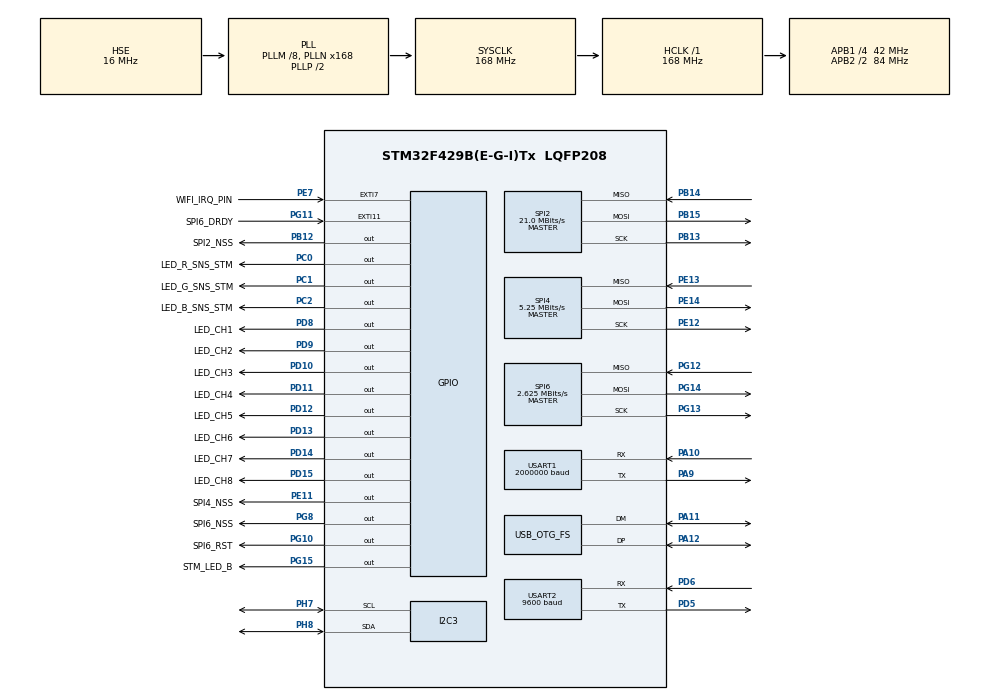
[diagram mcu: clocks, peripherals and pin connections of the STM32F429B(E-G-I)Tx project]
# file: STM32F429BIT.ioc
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Dma.I2C3_RX.1.Direction=DMA_PERIPH_TO_MEMORY
Dma.I2C3_RX.1.FIFOMode=DMA_FIFOMODE_DISABLE
Dma.I2C3_RX.1.Instance=DMA1_Stream2
Dma.I2C3_RX.1.MemDataAlignment=DMA_MDATAALIGN_BYTE
Dma.I2C3_RX.1.MemInc=DMA_MINC_ENABLE
Dma.I2C3_RX.1.Mode=DMA_NORMAL
Dma.I2C3_RX.1.PeriphDataAlignment=DMA_PDATAALIGN_BYTE
Dma.I2C3_RX.1.PeriphInc=DMA_PINC_DISABLE
Dma.I2C3_RX.1.Priority=DMA_PRIORITY_HIGH
Dma.I2C3_TX.2.Direction=DMA_MEMORY_TO_PERIPH
Dma.I2C3_TX.2.FIFOMode=DMA_FIFOMODE_DISABLE
Dma.I2C3_TX.2.Instance=DMA1_Stream4
Dma.I2C3_TX.2.MemDataAlignment=DMA_MDATAALIGN_BYTE
Dma.I2C3_TX.2.MemInc=DMA_MINC_ENABLE
Dma.I2C3_TX.2.Mode=DMA_NORMAL
Dma.I2C3_TX.2.PeriphDataAlignment=DMA_PDATAALIGN_BYTE
Dma.I2C3_TX.2.PeriphInc=DMA_PINC_DISABLE
Dma.I2C3_TX.2.Priority=DMA_PRIORITY_LOW
Dma.MEMTOMEM.0.Direction=DMA_MEMORY_TO_MEMORY
Dma.MEMTOMEM.0.FIFOMode=DMA_FIFOMODE_ENABLE
Dma.MEMTOMEM.0.FIFOThreshold=DMA_FIFO_THRESHOLD_FULL
Dma.MEMTOMEM.0.Instance=DMA2_Stream0
Dma.MEMTOMEM.0.MemBurst=DMA_MBURST_SINGLE
Dma.MEMTOMEM.0.MemDataAlignment=DMA_MDATAALIGN_BYTE
Dma.MEMTOMEM.0.MemInc=DMA_MINC_ENABLE
Dma.MEMTOMEM.0.Mode=DMA_NORMAL
Dma.MEMTOMEM.0.PeriphBurst=DMA_PBURST_SINGLE
Dma.MEMTOMEM.0.PeriphDataAlignment=DMA_PDATAALIGN_BYTE
Dma.MEMTOMEM.0.PeriphInc=DMA_PINC_ENABLE
Dma.MEMTOMEM.0.Priority=DMA_PRIORITY_LOW
Dma.Request0=MEMTOMEM
Dma.Request1=I2C3_RX
Dma.Request2=I2C3_TX
Dma.Request3=USART1_RX
Dma.Request4=USART1_TX
Dma.Request5=SPI4_TX
Dma.Request6=USART2_RX
Dma.SPI4_TX.5.Direction=DMA_MEMORY_TO_PERIPH
Dma.SPI4_TX.5.FIFOMode=DMA_FIFOMODE_DISABLE
Dma.SPI4_TX.5.Instance=DMA2_Stream1
Dma.SPI4_TX.5.MemDataAlignment=DMA_MDATAALIGN_BYTE
Dma.SPI4_TX.5.MemInc=DMA_MINC_ENABLE
Dma.SPI4_TX.5.Mode=DMA_NORMAL
Dma.SPI4_TX.5.PeriphDataAlignment=DMA_PDATAALIGN_BYTE
Dma.SPI4_TX.5.PeriphInc=DMA_PINC_DISABLE
Dma.SPI4_TX.5.Priority=DMA_PRIORITY_LOW
Dma.USART1_RX.3.Direction=DMA_PERIPH_TO_MEMORY
Dma.USART1_RX.3.FIFOMode=DMA_FIFOMODE_DISABLE
Dma.USART1_RX.3.Instance=DMA2_Stream2
Dma.USART1_RX.3.MemDataAlignment=DMA_MDATAALIGN_BYTE
Dma.USART1_RX.3.MemInc=DMA_MINC_ENABLE
Dma.USART1_RX.3.Mode=DMA_CIRCULAR
Dma.USART1_RX.3.PeriphDataAlignment=DMA_PDATAALIGN_BYTE
Dma.USART1_RX.3.PeriphInc=DMA_PINC_DISABLE
Dma.USART1_RX.3.Priority=DMA_PRIORITY_VERY_HIGH
Dma.USART1_TX.4.Direction=DMA_MEMORY_TO_PERIPH
Dma.USART1_TX.4.FIFOMode=DMA_FIFOMODE_DISABLE
Dma.USART1_TX.4.Instance=DMA2_Stream7
Dma.USART1_TX.4.MemDataAlignment=DMA_MDATAALIGN_BYTE
Dma.USART1_TX.4.MemInc=DMA_MINC_ENABLE
Dma.USART1_TX.4.Mode=DMA_NORMAL
Dma.USART1_TX.4.PeriphDataAlignment=DMA_PDATAALIGN_BYTE
Dma.USART1_TX.4.PeriphInc=DMA_PINC_DISABLE
Dma.USART1_TX.4.Priority=DMA_PRIORITY_VERY_HIGH
Dma.USART2_RX.6.Direction=DMA_PERIPH_TO_MEMORY
Dma.USART2_RX.6.FIFOMode=DMA_FIFOMODE_DISABLE
Dma.USART2_RX.6.Instance=DMA1_Stream5
Dma.USART2_RX.6.MemDataAlignment=DMA_MDATAALIGN_BYTE
Dma.USART2_RX.6.MemInc=DMA_MINC_ENABLE
Dma.USART2_RX.6.Mode=DMA_CIRCULAR
Dma.USART2_RX.6.PeriphDataAlignment=DMA_PDATAALIGN_BYTE
Dma.USART2_RX.6.PeriphInc=DMA_PINC_DISABLE
Dma.USART2_RX.6.Priority=DMA_PRIORITY_LOW
FREERTOS.INCLUDE_eTaskGetState=1
FREERTOS.INCLUDE_xQueueGetMutexHolder=1
FREERTOS.INCLUDE_xSemaphoreGetMutexHolder=1
FREERTOS.INCLUDE_xTaskAbortDelay=1
FREERTOS.INCLUDE_xTaskGetCurrentTaskHandle=1
FREERTOS.INCLUDE_xTaskGetHandle=1
FREERTOS.INCLUDE_xTimerPendFunctionCall=1
FREERTOS.Tasks01=defaultTask,0,2048,StartDefaultTask,Default,NULL,Dynamic,NULL,NULL;displayTask,-1,512,StartDisplayTask,Default,NULL,Dynamic,NULL,NULL;udpServerTask,0,1024,StartUdpServer,Default,NULL,Dynamic,NULL,NULL;initWiFiTask,-1,256,StartInitWiFiTask,Default,NULL,Dynamic,NULL,NULL;debugMonitor,-2,128,StartDebugMonitor,Default,NULL,Dynamic,NULL,NULL;USBHandlerTask,0,2048,StartUSBHandlerTask,Default,NULL,Dynamic,NULL,NULL
FREERTOS.configMAX_CO_ROUTINE_PRIORITIES=6
FREERTOS.configQUEUE_REGISTRY_SIZE=0
FREERTOS.configTIMER_TASK_PRIORITY=6
FREERTOS.configTIMER_TASK_STACK_DEPTH=1024
FREERTOS.configTOTAL_HEAP_SIZE=32768
FREERTOS.configUSE_COUNTING_SEMAPHORES=1
FREERTOS.configUSE_CO_ROUTINES=1
FREERTOS.configUSE_RECURSIVE_MUTEXES=1
FREERTOS.configUSE_TIMERS=1
I2C3.I2C_Mode=I2C_Fast
Mcu.Family=STM32F4
Mcu.Name=STM32F429B(E-G-I)Tx
Mcu.Package=LQFP208
NVIC.DMA1_Stream2_IRQn=true\:5\:0\:false\:false\:true\:true\:false\:true
NVIC.DMA1_Stream4_IRQn=true\:5\:0\:false\:false\:true\:true\:false\:true
NVIC.DMA1_Stream5_IRQn=true\:5\:0\:false\:false\:true\:true\:false\:true
NVIC.DMA2_Stream1_IRQn=true\:5\:0\:false\:false\:true\:true\:false\:true
NVIC.DMA2_Stream2_IRQn=true\:0\:0\:false\:false\:true\:false\:true\:true
NVIC.DMA2_Stream7_IRQn=true\:0\:0\:false\:false\:true\:false\:true\:true
NVIC.EXTI15_10_IRQn=true\:1\:0\:true\:false\:true\:false\:true\:true
NVIC.EXTI9_5_IRQn=true\:5\:0\:false\:false\:true\:true\:true\:true
NVIC.I2C3_EV_IRQn=true\:1\:0\:true\:false\:true\:false\:true\:true
NVIC.OTG_FS_IRQn=true\:5\:0\:false\:false\:true\:true\:false\:true
NVIC.PriorityGroup=NVIC_PRIORITYGROUP_4
NVIC.SPI4_IRQn=true\:1\:0\:true\:false\:true\:false\:true\:true
NVIC.TIM1_BRK_TIM9_IRQn=true\:3\:0\:true\:false\:true\:false\:true\:true
NVIC.TIM1_TRG_COM_TIM11_IRQn=true\:3\:0\:true\:false\:true\:false\:true\:true
NVIC.TIM1_UP_TIM10_IRQn=true\:0\:0\:true\:false\:true\:false\:true\:true
NVIC.TIM8_BRK_TIM12_IRQn=true\:3\:0\:true\:false\:true\:false\:true\:true
NVIC.TIM8_TRG_COM_TIM14_IRQn=true\:3\:0\:true\:false\:true\:false\:true\:true
NVIC.USART1_IRQn=true\:5\:0\:false\:false\:true\:true\:true\:true
PA10.Mode=Asynchronous
PA10.Signal=USART1_RX
PA11.Mode=Host_Only
PA11.Signal=USB_OTG_FS_DM
PA12.Mode=Host_Only
PA12.Signal=USB_OTG_FS_DP
PA13.Mode=JTAG_5_pins
PA13.Signal=SYS_JTMS-SWDIO
PA14.Mode=JTAG_5_pins
PA14.Signal=SYS_JTCK-SWCLK
PA15.Mode=JTAG_5_pins
PA15.Signal=SYS_JTDI
PA9.Mode=Asynchronous
PA9.Signal=USART1_TX
PB12.GPIO_Label=SPI2_NSS
PB12.Signal=GPIO_Output
PB13.Mode=Full_Duplex_Master
PB13.Signal=SPI2_SCK
PB14.Mode=Full_Duplex_Master
PB14.Signal=SPI2_MISO
PB15.Mode=Full_Duplex_Master
PB15.Signal=SPI2_MOSI
PB3.Mode=JTAG_5_pins
PB3.Signal=SYS_JTDO-SWO
PB4.Mode=JTAG_5_pins
PB4.Signal=SYS_JTRST
PC0.GPIO_Label=LED_R_SNS_STM
PC0.Signal=GPIO_Output
PC1.GPIO_Label=LED_G_SNS_STM
PC1.Signal=GPIO_Output
PC2.GPIO_Label=LED_B_SNS_STM
PC2.Signal=GPIO_Output
PD10.GPIO_Label=LED_CH3
PD10.Signal=GPIO_Output
PD11.GPIO_Label=LED_CH4
PD11.Signal=GPIO_Output
PD12.GPIO_Label=LED_CH5
PD12.Signal=GPIO_Output
PD13.GPIO_Label=LED_CH6
PD13.Signal=GPIO_Output
PD14.GPIO_Label=LED_CH7
PD14.Signal=GPIO_Output
PD15.GPIO_Label=LED_CH8
PD15.Signal=GPIO_Output
PD5.Mode=Asynchronous
PD5.Signal=USART2_TX
PD6.Mode=Asynchronous
PD6.Signal=USART2_RX
PD8.GPIO_Label=LED_CH1
PD8.Signal=GPIO_Output
PD9.GPIO_Label=LED_CH2
PD9.Signal=GPIO_Output
PE11.GPIO_Label=SPI4_NSS
PE11.Signal=GPIO_Output
PE12.Mode=Full_Duplex_Master
PE12.Signal=SPI4_SCK
PE13.Mode=Full_Duplex_Master
PE13.Signal=SPI4_MISO
PE14.Mode=Full_Duplex_Master
PE14.Signal=SPI4_MOSI
PE7.GPIO_Label=WIFI_IRQ_PIN
PE7.Signal=GPXTI7
PG10.GPIO_Label=SPI6_RST
PG10.Signal=GPIO_Output
PG11.GPIO_Label=SPI6_DRDY
PG11.GPIO_ModeDefaultEXTI=GPIO_MODE_IT_FALLING
PG11.GPIO_PuPd=GPIO_NOPULL
PG11.Signal=GPXTI11
PG12.Mode=Full_Duplex_Master
PG12.Signal=SPI6_MISO
PG13.Mode=Full_Duplex_Master
PG13.Signal=SPI6_SCK
PG14.Mode=Full_Duplex_Master
PG14.Signal=SPI6_MOSI
PG15.GPIO_Label=STM_LED_B
PG15.Signal=GPIO_Output
PG8.GPIO_Label=SPI6_NSS
PG8.Signal=GPIO_Output
PH0/OSC_IN.Mode=HSE-External-Oscillator
PH0/OSC_IN.Signal=RCC_OSC_IN
PH1/OSC_OUT.Mode=HSE-External-Oscillator
PH1/OSC_OUT.Signal=RCC_OSC_OUT
PH7.Mode=I2C
PH7.Signal=I2C3_SCL
PH8.Mode=I2C
PH8.Signal=I2C3_SDA
ProjectManager.HeapSize=0x200
ProjectManager.StackSize=0x400
ProjectManager.TargetToolchain=Makefile
RCC.48MHZClocksFreq_Value=48000000
RCC.AHBFreq_Value=168000000
RCC.APB1CLKDivider=RCC_HCLK_DIV4
RCC.APB1Freq_Value=42000000
RCC.APB1TimFreq_Value=84000000
RCC.APB2CLKDivider=RCC_HCLK_DIV2
RCC.APB2Freq_Value=84000000
RCC.APB2TimFreq_Value=168000000
RCC.CortexFreq_Value=168000000
RCC.HCLKFreq_Value=168000000
RCC.HSE_VALUE=16000000
RCC.HSI_VALUE=16000000
RCC.LSE_VALUE=32768
RCC.PLLM=8
RCC.PLLN=168
RCC.PLLQ=7
RCC.SYSCLKFreq_VALUE=168000000
RCC.SYSCLKSource=RCC_SYSCLKSOURCE_PLLCLK
RCC.VCOOutputFreq_Value=336000000
SPI2.CalculateBaudRate=21.0 MBits/s
SPI2.Direction=SPI_DIRECTION_2LINES
SPI2.Mode=SPI_MODE_MASTER
SPI2.VirtualType=VM_MASTER
SPI4.BaudRatePrescaler=SPI_BAUDRATEPRESCALER_16
SPI4.CalculateBaudRate=5.25 MBits/s
SPI4.Direction=SPI_DIRECTION_2LINES
SPI4.Mode=SPI_MODE_MASTER
SPI4.VirtualType=VM_MASTER
SPI6.BaudRatePrescaler=SPI_BAUDRATEPRESCALER_32
SPI6.CLKPhase=SPI_PHASE_2EDGE
SPI6.CalculateBaudRate=2.625 MBits/s
SPI6.Direction=SPI_DIRECTION_2LINES
SPI6.Mode=SPI_MODE_MASTER
SPI6.VirtualType=VM_MASTER
TIM10.Period=4
TIM10.Prescaler=8399
TIM11.Period=2499
TIM11.Prescaler=33599
TIM12.Channel-Output\ Compare1\ No\ Output=TIM_CHANNEL_1
TIM12.Period=2500
TIM12.Prescaler=(uint32_t)( (SystemCoreClock / 2) / 10000 ) - 1
TIM14.Period=3229
TIM14.Prescaler=3991
TIM9.Channel-Output\ Compare1\ No\ Output=TIM_CHANNEL_1
TIM9.ClockDivision=TIM_CLOCKDIVISION_DIV1
TIM9.Period=9
TIM9.Prescaler=33599
USART1.BaudRate=2000000
USART1.VirtualMode=VM_ASYNC
USART2.BaudRate=9600
USART2.VirtualMode=VM_ASYNC
USB_HOST.USBH_DEBUG_LEVEL-CDC_FS=3
USB_HOST.USBH_HandleTypeDef-CDC_FS=hUsbHostFS
USB_HOST.USBH_PROCESS_PRIO-CDC_FS=osPriorityAboveNormal
USB_HOST.USBH_PROCESS_STACK_SIZE-CDC_FS=256
USB_HOST.USBH_USE_OS-CDC_FS=0
USB_HOST.VirtualModeFS=Cdc
USB_OTG_FS.VirtualMode=Host_Only
USB_OTG_FS.phy_itface=HCD_PHY_EMBEDDED
VP_FREERTOS_VS_CMSIS_V1.Mode=CMSIS_V1
VP_TIM10_VS_ClockSourceINT.Mode=Enable_Timer
VP_TIM11_VS_ClockSourceINT.Mode=Enable_Timer
VP_TIM12_VS_ClockSourceINT.Mode=Internal
VP_TIM12_VS_no_output1.Mode=Output Compare1 No Output
VP_TIM14_VS_ClockSourceINT.Mode=Enable_Timer
VP_TIM14_VS_OPM.Mode=OPM_bit
VP_TIM9_VS_ClockSourceINT.Mode=Internal
VP_TIM9_VS_no_output1.Mode=Output Compare1 No Output
VP_USB_HOST_VS_USB_HOST_CDC_FS.Mode=CDC_FS
board=stm32f4

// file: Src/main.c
/* USER CODE BEGIN Header */
/**
  ******************************************************************************
  * @file           : main.c
  * @brief          : Main program body
  ******************************************************************************
  * @attention
  *
  * <h2><center>&copy; Copyright (c) 2021 STMicroelectronics.
  * All rights reserved.</center></h2>
  *
  * This software component is licensed by ST under Ultimate Liberty license
  * SLA0044, the "License"; You may not use this file except in compliance with
  * the License. You may obtain a copy of the License at:
  *                             www.st.com/SLA0044
  *
  ******************************************************************************
  */
/* USER CODE END Header */

#include "main.h"
#include "cmsis_os.h"
#include "dma.h"
#include "i2c.h"
#include "spi.h"
#include "tim.h"
#include "usart.h"
#include "usb_host.h"
#include "gpio.h"

void SystemClock_Config(void);
void MX_FREERTOS_Init(void);

/* USER CODE BEGIN 0 */
void multiplyMatrices(int **first, int **second, int **result,
                      int r1, int c1, int r2, int c2) {
	for (int i = 0; i < r1; i++) {
		for (int j = 0; j < c2; j++) {
			result[i][j] = 0;
		}
	}
	for (int i = 0; i < r1; i++) {
		for (int j = 0; j < c2; j++) {
			for (int k = 0; k < c1; k++) {
				result[i][j] += first[i][k] * second[k][j];
			}
		}
	}
}

typedef union _tag_data_simd
{
	int16_t  s_int16[2];
	uint16_t  u_int16[2];
	int32_t  s_int32;
	uint32_t  u_int32;
} data_simd;

void multiplyMatricesSIMD(int16_t **first, int16_t **second, int32_t **result,
                      uint32_t r1, uint32_t c1, uint32_t r2, uint32_t c2) {
	data_simd s1, s2;
	for (uint32_t i = 0; i < r1; i++) {
		for (uint32_t j = 0; j < c2; j++) {
			result[i][j] = 0;
		}
	}
	for (uint32_t i = 0; i < r1; i++) {
		for (uint32_t j = 0; j < c2; j++) {
			for (uint32_t k = 0; k < c1; k+=2) {
				s1.s_int16[0] = first[i][k];
				s2.s_int16[0] = second[i][k];
				s1.s_int16[1] = first[i][k + 1];
				s2.s_int16[1] = second[i][k + 1];
//				p1 = val1[15:0]  * val2[15:0]
//				p2 = val1[31:16] * val2[31:16]
//				res[31:0] = p1 + p2 + val3[31:0]
				result[i][j] = (int32_t)__SMLAD(s1.u_int32, s2.u_int32,
					(uint32_t)result[i][j]);
			}
		}
	}
}

/* USER CODE END 0 */

int main(void)
{

  /* MCU Configuration--------------------------------------------------------*/

  /* Reset of all peripherals, Initializes the Flash interface and the Systick. */
  HAL_Init();

  /* Configure the system clock */
  SystemClock_Config();

  /* Initialize all configured peripherals */
  MX_GPIO_Init();
  MX_DMA_Init();
  MX_I2C3_Init();
  MX_SPI4_Init();
  MX_SPI6_Init();
  MX_TIM9_Init();
  MX_TIM10_Init();
  MX_TIM11_Init();
  MX_TIM12_Init();
  MX_TIM14_Init();
  MX_USART1_UART_Init();
  MX_SPI2_Init();
  MX_USART2_UART_Init();

  /* Call init function for freertos objects (in freertos.c) */
  MX_FREERTOS_Init();

  HAL_GPIO_WritePin(LED_CH1_GPIO_Port, LED_CH1_Pin, GPIO_PIN_SET);
  HAL_GPIO_WritePin(LED_CH2_GPIO_Port, LED_CH2_Pin, GPIO_PIN_RESET);
  HAL_GPIO_WritePin(LED_CH3_GPIO_Port, LED_CH3_Pin, GPIO_PIN_SET);
  HAL_GPIO_WritePin(LED_CH4_GPIO_Port, LED_CH4_Pin, GPIO_PIN_RESET);
  HAL_GPIO_WritePin(LED_CH5_GPIO_Port, LED_CH5_Pin, GPIO_PIN_SET);
  HAL_GPIO_WritePin(LED_CH6_GPIO_Port, LED_CH6_Pin, GPIO_PIN_RESET);
  HAL_GPIO_WritePin(LED_CH7_GPIO_Port, LED_CH7_Pin, GPIO_PIN_SET);
  HAL_GPIO_WritePin(LED_CH8_GPIO_Port, LED_CH8_Pin, GPIO_PIN_RESET);
  /* Start scheduler */
  osKernelStart();

  /* We should never get here as control is now taken by the scheduler */

  /* Infinite loop */
  while (1)
  {

  }
}

void SystemClock_Config(void)
{
  RCC_OscInitTypeDef RCC_OscInitStruct = {0};
  RCC_ClkInitTypeDef RCC_ClkInitStruct = {0};

  /** Configure the main internal regulator output voltage
  */
  __HAL_RCC_PWR_CLK_ENABLE();
  __HAL_PWR_VOLTAGESCALING_CONFIG(PWR_REGULATOR_VOLTAGE_SCALE1);
  /** Initializes the CPU, AHB and APB busses clocks
  */
  RCC_OscInitStruct.OscillatorType = RCC_OSCILLATORTYPE_HSE;
  RCC_OscInitStruct.HSEState = RCC_HSE_ON;
  RCC_OscInitStruct.PLL.PLLState = RCC_PLL_ON;
  RCC_OscInitStruct.PLL.PLLSource = RCC_PLLSOURCE_HSE;
  RCC_OscInitStruct.PLL.PLLM = 8;
  RCC_OscInitStruct.PLL.PLLN = 168;
  RCC_OscInitStruct.PLL.PLLP = RCC_PLLP_DIV2;
  RCC_OscInitStruct.PLL.PLLQ = 7;
  if (HAL_RCC_OscConfig(&RCC_OscInitStruct) != HAL_OK)
  {
    Error_Handler();
  }
  /** Initializes the CPU, AHB and APB busses clocks
  */
  RCC_ClkInitStruct.ClockType = RCC_CLOCKTYPE_HCLK|RCC_CLOCKTYPE_SYSCLK
                              |RCC_CLOCKTYPE_PCLK1|RCC_CLOCKTYPE_PCLK2;
  RCC_ClkInitStruct.SYSCLKSource = RCC_SYSCLKSOURCE_PLLCLK;
  RCC_ClkInitStruct.AHBCLKDivider = RCC_SYSCLK_DIV1;
  RCC_ClkInitStruct.APB1CLKDivider = RCC_HCLK_DIV4;
  RCC_ClkInitStruct.APB2CLKDivider = RCC_HCLK_DIV2;

  if (HAL_RCC_ClockConfig(&RCC_ClkInitStruct, FLASH_LATENCY_5) != HAL_OK)
  {
    Error_Handler();
  }
}

void Error_Handler(void)
{
}

/************************ (C) COPYRIGHT STMicroelectronics *****END OF FILE****/

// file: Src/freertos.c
/* USER CODE BEGIN Header */
/**
  ******************************************************************************
  * File Name          : freertos.c
  * Description        : Code for freertos applications
  ******************************************************************************
  * @attention
  *
  * <h2><center>&copy; Copyright (c) 2021 STMicroelectronics.
  * All rights reserved.</center></h2>
  *
  * This software component is licensed by ST under Ultimate Liberty license
  * SLA0044, the "License"; You may not use this file except in compliance with
  * the License. You may obtain a copy of the License at:
  *                             www.st.com/SLA0044
  *
  ******************************************************************************
  */
/* USER CODE END Header */

#include "FreeRTOS.h"
#include "task.h"
#include "main.h"
#include "cmsis_os.h"

osThreadId defaultTaskHandle;
osThreadId displayTaskHandle;
osThreadId udpServerTaskHandle;
osThreadId initWiFiTaskHandle;
osThreadId debugMonitorHandle;
osThreadId USBHandlerTaskHandle;

void StartDefaultTask(void const * argument);
void StartDisplayTask(void const * argument);
void StartUdpServer(void const * argument);
void StartInitWiFiTask(void const * argument);
void StartDebugMonitor(void const * argument);
void StartUSBHandlerTask(void const * argument);

extern void MX_USB_HOST_Init(void);
void MX_FREERTOS_Init(void); /* (MISRA C 2004 rule 8.1) */

/* GetIdleTaskMemory prototype (linked to static allocation support) */
void vApplicationGetIdleTaskMemory( StaticTask_t **ppxIdleTaskTCBBuffer, StackType_t **ppxIdleTaskStackBuffer, uint32_t *pulIdleTaskStackSize );

/* GetTimerTaskMemory prototype (linked to static allocation support) */
void vApplicationGetTimerTaskMemory( StaticTask_t **ppxTimerTaskTCBBuffer, StackType_t **ppxTimerTaskStackBuffer, uint32_t *pulTimerTaskStackSize );

/* USER CODE BEGIN GET_IDLE_TASK_MEMORY */
static StaticTask_t xIdleTaskTCBBuffer;
static StackType_t xIdleStack[configMINIMAL_STACK_SIZE];

void vApplicationGetIdleTaskMemory( StaticTask_t **ppxIdleTaskTCBBuffer, StackType_t **ppxIdleTaskStackBuffer, uint32_t *pulIdleTaskStackSize )
{
  *ppxIdleTaskTCBBuffer = &xIdleTaskTCBBuffer;
  *ppxIdleTaskStackBuffer = &xIdleStack[0];
  *pulIdleTaskStackSize = configMINIMAL_STACK_SIZE;
  /* place for user code */
}
/* USER CODE END GET_IDLE_TASK_MEMORY */

/* USER CODE BEGIN GET_TIMER_TASK_MEMORY */
static StaticTask_t xTimerTaskTCBBuffer;
static StackType_t xTimerStack[configTIMER_TASK_STACK_DEPTH];

void vApplicationGetTimerTaskMemory( StaticTask_t **ppxTimerTaskTCBBuffer, StackType_t **ppxTimerTaskStackBuffer, uint32_t *pulTimerTaskStackSize )
{
  *ppxTimerTaskTCBBuffer = &xTimerTaskTCBBuffer;
  *ppxTimerTaskStackBuffer = &xTimerStack[0];
  *pulTimerTaskStackSize = configTIMER_TASK_STACK_DEPTH;
  /* place for user code */
}
/* USER CODE END GET_TIMER_TASK_MEMORY */

void MX_FREERTOS_Init(void) {

  /* Create the thread(s) */
  /* definition and creation of defaultTask */
  osThreadDef(defaultTask, StartDefaultTask, osPriorityNormal, 0, 2048);
  defaultTaskHandle = osThreadCreate(osThread(defaultTask), NULL);

  /* definition and creation of displayTask */
  osThreadDef(displayTask, StartDisplayTask, osPriorityBelowNormal, 0, 512);
  displayTaskHandle = osThreadCreate(osThread(displayTask), NULL);

  /* definition and creation of udpServerTask */
  osThreadDef(udpServerTask, StartUdpServer, osPriorityNormal, 0, 1024);
  udpServerTaskHandle = osThreadCreate(osThread(udpServerTask), NULL);

  /* definition and creation of initWiFiTask */
  osThreadDef(initWiFiTask, StartInitWiFiTask, osPriorityBelowNormal, 0, 256);
  initWiFiTaskHandle = osThreadCreate(osThread(initWiFiTask), NULL);

  /* definition and creation of debugMonitor */
  osThreadDef(debugMonitor, StartDebugMonitor, osPriorityLow, 0, 128);
  debugMonitorHandle = osThreadCreate(osThread(debugMonitor), NULL);

  /* definition and creation of USBHandlerTask */
  osThreadDef(USBHandlerTask, StartUSBHandlerTask, osPriorityNormal, 0, 2048);
  USBHandlerTaskHandle = osThreadCreate(osThread(USBHandlerTask), NULL);

}

void StartDefaultTask(void const * argument)
{
  /* init code for USB_HOST */
  MX_USB_HOST_Init();
  for(;;)
  {
    osDelay(1);
  }
}

void StartDisplayTask(void const * argument)
{
  for(;;)
  {
    osDelay(1);
  }
}

void StartUdpServer(void const * argument)
{
  for(;;)
  {
    osDelay(1);
  }
}

void StartInitWiFiTask(void const * argument)
{
  for(;;)
  {
    osDelay(1);
  }
}

void StartDebugMonitor(void const * argument)
{
  for(;;)
  {
    osDelay(1);
  }
}

void StartUSBHandlerTask(void const * argument)
{
  for(;;)
  {
    osDelay(1);
  }
}

/************************ (C) COPYRIGHT STMicroelectronics *****END OF FILE****/
